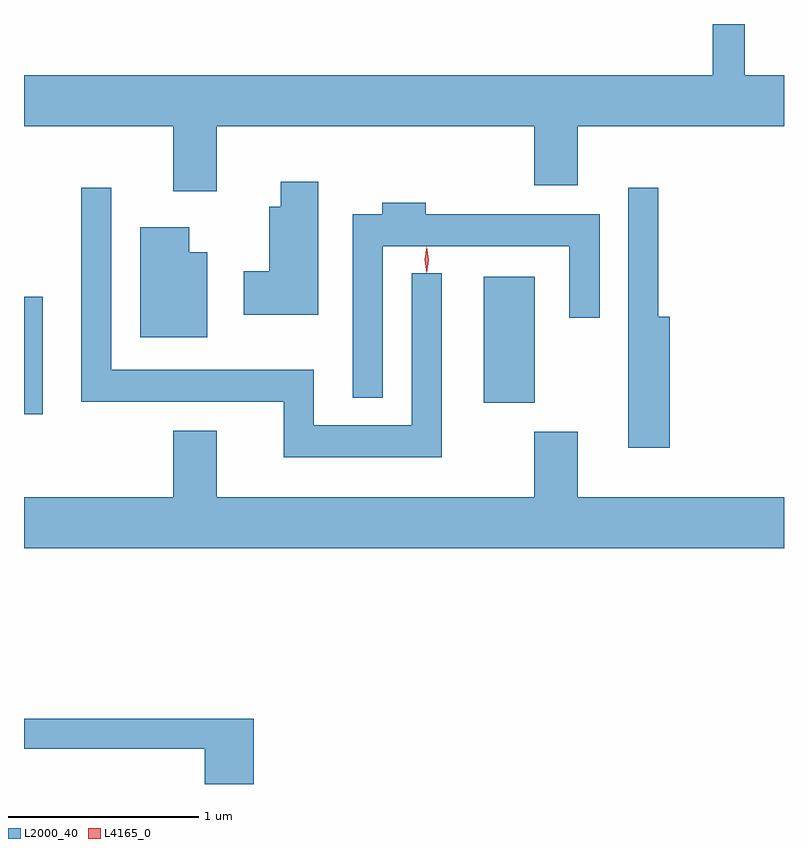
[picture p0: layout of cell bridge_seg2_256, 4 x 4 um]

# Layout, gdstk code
import gdstk
lib = gdstk.Library(unit=1e-6, precision=1e-09)
def R(c, l, rs):  # rectangles x0, y0, x1, y1
    for r in rs: c.add(gdstk.rectangle(r[:2], r[2:], *l))
def P(c, l, *ps):  # polygons
    for p in ps: c.add(gdstk.Polygon(p, *l))
L2000_40 = (2000, 40)
L4165_0 = (4165, 0)

bridge_seg2_256 = lib.new_cell('bridge_seg2_256')
R(bridge_seg2_256, L2000_40, [(647.955,1106.741,648.054,1107.359), (650.376,1106.801,650.644,1107.464)])
P(bridge_seg2_256, L2000_40, [(648.969,1108.256),(650.641,1108.256),(650.641,1107.946),(650.869,1107.946),(650.869,1108.256),(651.955,1108.256),(651.955,1108.524),(651.749,1108.524),(651.749,1108.795),(651.581,1108.795),(651.581,1108.524),(647.955,1108.524),(647.955,1108.256),(648.741,1108.256),(648.741,1107.916),(648.969,1107.916)],
  [(649.504,1107.964),(649.306,1107.964),(649.306,1107.834),(649.246,1107.834),(649.246,1107.494),(649.111,1107.494),(649.111,1107.266),(649.504,1107.266)],
  [(651.354,1107.254),(651.294,1107.254),(651.294,1107.933),(651.136,1107.933),(651.136,1106.566),(651.354,1106.566)],
  [(650.154,1107.483),(649.996,1107.483),(649.996,1106.684),(649.479,1106.684),(649.479,1106.974),(648.414,1106.974),(648.414,1107.933),(648.256,1107.933),(648.256,1106.806),(649.321,1106.806),(649.321,1106.516),(650.154,1106.516)],
  [(649.844,1107.626),(650.826,1107.626),(650.826,1107.248),(650.984,1107.248),(650.984,1107.794),(650.069,1107.794),(650.069,1107.854),(649.841,1107.854),(649.841,1107.794),(649.686,1107.794),(649.686,1106.828),(649.844,1106.828)],
  [(648.919,1107.594),(648.824,1107.594),(648.824,1107.724),(648.566,1107.724),(648.566,1107.146),(648.919,1107.146)],
  [(651.955,1106.304),(650.869,1106.304),(650.869,1106.649),(650.641,1106.649),(650.641,1106.304),(648.969,1106.304),(648.969,1106.654),(648.741,1106.654),(648.741,1106.304),(647.955,1106.304),(647.955,1106.036),(651.955,1106.036)],
  [(649.164,1105.139),(647.955,1105.139),(647.955,1104.981),(648.906,1104.981),(648.906,1104.795),(649.164,1104.795)])
P(bridge_seg2_256, L4165_0, [(650.074,1107.484),(650.074,1107.484),(650.064,1107.553),(650.074,1107.623),(650.074,1107.623),(650.075,1107.623),(650.084,1107.553),(650.075,1107.484)])

lib.write_gds('bridge_seg2_256.gds')
